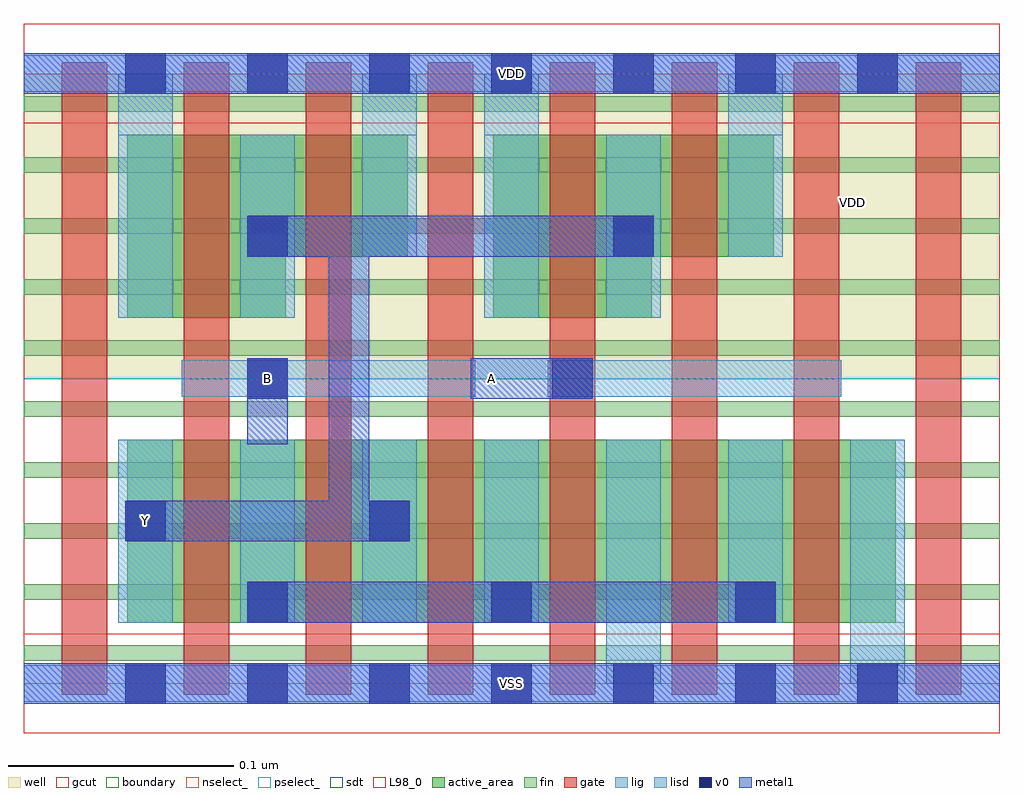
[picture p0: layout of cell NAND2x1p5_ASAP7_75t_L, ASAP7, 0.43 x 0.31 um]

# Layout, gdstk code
import gdstk
lib = gdstk.Library(unit=1e-6, precision=2.5e-10)
def R(c, l, rs):  # rectangles x0, y0, x1, y1
    for r in rs: c.add(gdstk.rectangle(r[:2], r[2:], *l))
def A(c, l, x, y, w, h, nx, ny, dx, dy):  # array of equal rectangles
    R(c, l, [(x+i*dx, y+j*dy, x+i*dx+w, y+j*dy+h) for i in range(nx) for j in range(ny)])
def P(c, l, *ps):  # polygons
    for p in ps: c.add(gdstk.Polygon(p, *l))
well = (1, 0)
fin = (2, 0)
gate = (7, 0)
gcut = (10, 0)
active_area = (11, 0)
nselect_ = (12, 0)
pselect_ = (13, 0)
lig = (16, 0)
lisd = (17, 0)
v0 = (18, 0)
metal1 = (19, 0)
sdt = (88, 0)
L98_0 = (98, 0)
boundary = (100, 0)

nand2x1p5_asap7_75t_l = lib.new_cell('NAND2x1p5_ASAP7_75t_L')
R(nand2x1p5_asap7_75t_l, well, [(0,0.135,0.432,0.27)])
A(nand2x1p5_asap7_75t_l, fin, 0, 0.01, 0.432, 0.007, 1, 10, 0, 0.027)
A(nand2x1p5_asap7_75t_l, gate, 0.017, -0.005, 0.02, 0.28, 8, 1, 0.054, 0)
R(nand2x1p5_asap7_75t_l, gcut, [(0,-0.022,0.432,0.022), (0,0.248,0.432,0.292)])
R(nand2x1p5_asap7_75t_l, active_area, [(0.046,0.027,0.386,0.108)])
P(nand2x1p5_asap7_75t_l, active_area, [(0.208,0.162),(0.208,0.243),(0.332,0.243),(0.332,0.189),(0.278,0.189),(0.278,0.162)],
  [(0.046,0.162),(0.046,0.243),(0.17,0.243),(0.17,0.189),(0.116,0.189),(0.116,0.162)])
R(nand2x1p5_asap7_75t_l, nselect_, [(0,0,0.432,0.135)])
R(nand2x1p5_asap7_75t_l, pselect_, [(0,0.135,0.432,0.27)])
R(nand2x1p5_asap7_75t_l, lig, [(0,-0.008,0.432,0.008), (0.07,0.127,0.2,0.143), (0.232,0.127,0.362,0.143), (0,0.262,0.432,0.278)])
A(nand2x1p5_asap7_75t_l, lisd, 0.042, 0.027, 0.024, 0.081, 4, 1, 0.054, 0)
R(nand2x1p5_asap7_75t_l, lisd, [(0.258,0,0.282,0.108), (0.366,0,0.39,0.108), (0.312,0.027,0.336,0.108), (0.042,0.162,0.066,0.27), (0.096,0.162,0.12,0.243), (0.204,0.162,0.228,0.27), (0.258,0.162,0.282,0.243), (0.15,0.189,0.174,0.27), (0.312,0.189,0.336,0.27)])
A(nand2x1p5_asap7_75t_l, v0, 0.045, -0.009, 0.018, 0.018, 7, 2, 0.054, 0.27)
A(nand2x1p5_asap7_75t_l, v0, 0.099, 0.027, 0.018, 0.018, 3, 1, 0.108, 0)
R(nand2x1p5_asap7_75t_l, v0, [(0.045,0.063,0.063,0.081), (0.153,0.063,0.171,0.081), (0.099,0.126,0.117,0.144), (0.234,0.126,0.252,0.144), (0.099,0.189,0.117,0.207), (0.261,0.189,0.279,0.207)])
R(nand2x1p5_asap7_75t_l, metal1, [(0,-0.009,0.432,0.009), (0.099,0.027,0.333,0.045), (0.099,0.106,0.117,0.144), (0.198,0.126,0.252,0.144), (0,0.261,0.432,0.279)])
P(nand2x1p5_asap7_75t_l, metal1, [(0.045,0.063),(0.045,0.081),(0.135,0.081),(0.135,0.189),(0.099,0.189),(0.099,0.207),(0.279,0.207),(0.279,0.189),(0.153,0.189),(0.153,0.081),(0.171,0.081),(0.171,0.063)])
A(nand2x1p5_asap7_75t_l, sdt, 0.042, 0.027, 0.024, 0.081, 7, 1, 0.054, 0)
R(nand2x1p5_asap7_75t_l, sdt, [(0.042,0.162,0.066,0.243), (0.096,0.162,0.12,0.243), (0.204,0.162,0.228,0.243), (0.258,0.162,0.282,0.243), (0.15,0.189,0.174,0.243), (0.312,0.189,0.336,0.243)])
R(nand2x1p5_asap7_75t_l, L98_0, [(0,0,0.432,0.27)])
R(nand2x1p5_asap7_75t_l, boundary, [(0,0,0.432,0.27)])
nand2x1p5_asap7_75t_l.add(gdstk.Label('Y', (0.054,0.072), layer=19, texttype=251))
nand2x1p5_asap7_75t_l.add(gdstk.Label('A', (0.207,0.135), layer=19, texttype=251))
nand2x1p5_asap7_75t_l.add(gdstk.Label('B', (0.108,0.135), layer=19, texttype=251))
nand2x1p5_asap7_75t_l.add(gdstk.Label('VSS', (0.216,0), layer=19, texttype=251))
nand2x1p5_asap7_75t_l.add(gdstk.Label('VDD', (0.216,0.27), layer=19, texttype=251))
nand2x1p5_asap7_75t_l.add(gdstk.Label('VDD', (0.367,0.213), layer=1, texttype=251))
nand2x1p5_asap7_75t_l.add(gdstk.Label('VSS', (0.497,0.213), layer=3, texttype=251))

lib.write_gds('NAND2x1p5_ASAP7_75t_L.gds')
